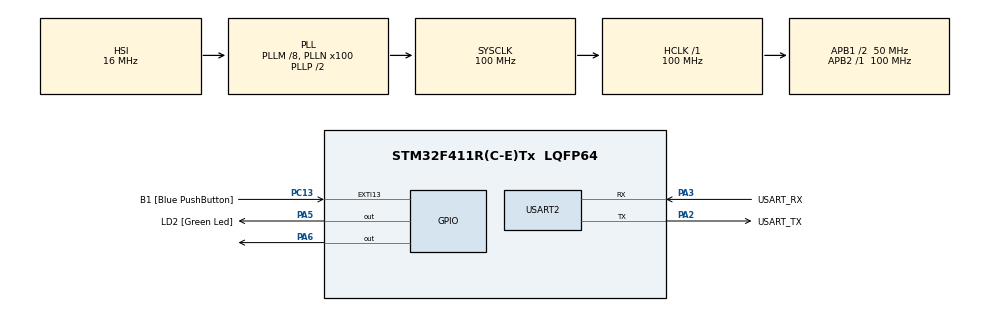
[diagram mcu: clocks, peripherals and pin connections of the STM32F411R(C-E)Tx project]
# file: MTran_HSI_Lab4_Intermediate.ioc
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Mcu.Family=STM32F4
Mcu.Name=STM32F411R(C-E)Tx
Mcu.Package=LQFP64
NVIC.PriorityGroup=NVIC_PRIORITYGROUP_0
NVIC.TIM1_UP_TIM10_IRQn=true\:0\:0\:false\:false\:true\:true\:true\:true
PA13.GPIO_Label=TMS
PA13.Mode=Serial_Wire
PA13.Signal=SYS_JTMS-SWDIO
PA14.GPIO_Label=TCK
PA14.Mode=Serial_Wire
PA14.Signal=SYS_JTCK-SWCLK
PA2.GPIO_Label=USART_TX
PA2.Mode=Asynchronous
PA2.Signal=USART2_TX
PA3.GPIO_Label=USART_RX
PA3.Mode=Asynchronous
PA3.Signal=USART2_RX
PA5.GPIO_Label=LD2 [Green Led]
PA5.Signal=GPIO_Output
PA6.Signal=GPIO_Output
PB3.GPIO_Label=SWO
PB3.Signal=SYS_JTDO-SWO
PC13-ANTI_TAMP.GPIO_Label=B1 [Blue PushButton]
PC13-ANTI_TAMP.GPIO_ModeDefaultEXTI=GPIO_MODE_IT_FALLING
PC13-ANTI_TAMP.Signal=GPXTI13
PC14-OSC32_IN.Mode=LSE-External-Oscillator
PC14-OSC32_IN.Signal=RCC_OSC32_IN
PC15-OSC32_OUT.Mode=LSE-External-Oscillator
PC15-OSC32_OUT.Signal=RCC_OSC32_OUT
PH0\ -\ OSC_IN.Mode=HSE-External-Clock-Source
PH0\ -\ OSC_IN.Signal=RCC_OSC_IN
PH1\ -\ OSC_OUT.Mode=HSE-External-Clock-Source
PH1\ -\ OSC_OUT.Signal=RCC_OSC_OUT
ProjectManager.HeapSize=0x200
ProjectManager.StackSize=0x400
ProjectManager.TargetToolchain=STM32CubeIDE
RCC.48MHZClocksFreq_Value=50000000
RCC.AHBFreq_Value=100000000
RCC.APB1CLKDivider=RCC_HCLK_DIV2
RCC.APB1Freq_Value=50000000
RCC.APB1TimFreq_Value=100000000
RCC.APB2Freq_Value=100000000
RCC.APB2TimFreq_Value=100000000
RCC.CortexFreq_Value=100000000
RCC.FLatency-AdvancedSettings=FLASH_LATENCY_3
RCC.HCLKFreq_Value=100000000
RCC.HSE_VALUE=8000000
RCC.HSI_VALUE=16000000
RCC.PLLM=8
RCC.PLLN=100
RCC.SYSCLKFreq_VALUE=100000000
RCC.SYSCLKSource=RCC_SYSCLKSOURCE_PLLCLK
RCC.VCOOutputFreq_Value=200000000
TIM1.Channel-Output\ Compare1\ No\ Output=TIM_CHANNEL_1
TIM1.OCMode_1=TIM_OCMODE_TOGGLE
TIM1.Period=499
TIM1.Prescaler=99
USART2.VirtualMode=VM_ASYNC
VP_TIM11_VS_ClockSourceINT.Mode=Enable_Timer
VP_TIM1_VS_ClockSourceINT.Mode=Internal
VP_TIM1_VS_no_output1.Mode=Output Compare1 No Output
board=NUCLEO-F411RE

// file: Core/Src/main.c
/* USER CODE BEGIN Header */
/**
  ******************************************************************************
  * @file           : main.c
  * @brief          : Main program body
  ******************************************************************************
  * @attention
  *
  * Copyright (c) 2024 STMicroelectronics.
  * All rights reserved.
  *
  * This software is licensed under terms that can be found in the LICENSE file
  * in the root directory of this software component.
  * If no LICENSE file comes with this software, it is provided AS-IS.
  *
  ******************************************************************************
  */
/*
* FILE : main.c
* PROJECT : Timers - Lab4
* PROGRAMMER : Minh Quan Tran
* FIRST VERSION : 2024 - 10 - 03
* DESCRIPTION : This file is the main code file to use timer to create a microDelay()
*/
/* USER CODE END Header */
#include "main.h"

/* USER CODE BEGIN PD */
#define PERIOD 500
#define USE_INTERRUPT
/* USER CODE END PD */

TIM_HandleTypeDef htim1;
TIM_HandleTypeDef htim11;

UART_HandleTypeDef huart2;

void SystemClock_Config(void);
static void MX_GPIO_Init(void);
static void MX_USART2_UART_Init(void);
static void MX_TIM1_Init(void);
static void MX_TIM11_Init(void);

/* USER CODE BEGIN 0 */

/* FUNCTION : HAL_TIM_PeriodElapsedCallback
*
* DESCRIPTION : This function is used to toggle LED whenever the timer overflow
*
* PARAMETERS : NONE
* RETURNS 	 : NONE
*
*/
void HAL_TIM_PeriodElapsedCallback(TIM_HandleTypeDef *htim)
{
    if (htim->Instance == TIM1)
    {
        HAL_GPIO_TogglePin(GPIOA, GPIO_PIN_6);
    }
}

/* FUNCTION : microDelay
*
* DESCRIPTION : This function is create to delay in micro second by counting the
* 				number of ticks has pass using the CNT register
*
* PARAMETERS : uint32_t usDelay  - duration of delay
* RETURNS 	 : NONE
*
*/
void microDelay(uint32_t usDelay)
{
    // Get the current timer counter value
    uint32_t startTime = __HAL_TIM_GET_COUNTER(&htim1);
    uint32_t ticks = usDelay - 1; // 1 ticks = 1 us

    // Poll the CNT register until the specified number of ticks has passed
    while ((__HAL_TIM_GET_COUNTER(&htim1) - startTime) < ticks)
    {
        // Wait until the timer reaches the required ticks
    }
}
/* USER CODE END 0 */

int main(void)
{

  /* MCU Configuration--------------------------------------------------------*/

  /* Reset of all peripherals, Initializes the Flash interface and the Systick. */
  HAL_Init();

  /* Configure the system clock */
  SystemClock_Config();

  /* Initialize all configured peripherals */
  MX_GPIO_Init();
  MX_USART2_UART_Init();
  MX_TIM1_Init();
  MX_TIM11_Init();
  /* USER CODE BEGIN 2 */
  htim1.Init.Period = PERIOD - 1;
  if (HAL_TIM_Base_Init(&htim1) != HAL_OK)
  {
	  Error_Handler();
  }

#ifdef USE_INTERRUPT
  HAL_TIM_Base_Start_IT(&htim1); //Enable interrupt
#else
  HAL_TIM_Base_Start(&htim1);
#endif
  /* USER CODE END 2 */

  /* Infinite loop */
  /* USER CODE BEGIN WHILE */
  while (1)
  {
#ifndef USE_INTERRUPT
	  microDelay(PERIOD);
	  HAL_GPIO_TogglePin(GPIOA, GPIO_PIN_6);
#endif
    /* USER CODE END WHILE */

  }
}

void SystemClock_Config(void)
{
  RCC_OscInitTypeDef RCC_OscInitStruct = {0};
  RCC_ClkInitTypeDef RCC_ClkInitStruct = {0};

  /** Configure the main internal regulator output voltage
  */
  __HAL_RCC_PWR_CLK_ENABLE();
  __HAL_PWR_VOLTAGESCALING_CONFIG(PWR_REGULATOR_VOLTAGE_SCALE1);

  /** Initializes the RCC Oscillators according to the specified parameters
  * in the RCC_OscInitTypeDef structure.
  */
  RCC_OscInitStruct.OscillatorType = RCC_OSCILLATORTYPE_HSI;
  RCC_OscInitStruct.HSIState = RCC_HSI_ON;
  RCC_OscInitStruct.HSICalibrationValue = RCC_HSICALIBRATION_DEFAULT;
  RCC_OscInitStruct.PLL.PLLState = RCC_PLL_ON;
  RCC_OscInitStruct.PLL.PLLSource = RCC_PLLSOURCE_HSI;
  RCC_OscInitStruct.PLL.PLLM = 8;
  RCC_OscInitStruct.PLL.PLLN = 100;
  RCC_OscInitStruct.PLL.PLLP = RCC_PLLP_DIV2;
  RCC_OscInitStruct.PLL.PLLQ = 4;
  if (HAL_RCC_OscConfig(&RCC_OscInitStruct) != HAL_OK)
  {
    Error_Handler();
  }

  /** Initializes the CPU, AHB and APB buses clocks
  */
  RCC_ClkInitStruct.ClockType = RCC_CLOCKTYPE_HCLK|RCC_CLOCKTYPE_SYSCLK
                              |RCC_CLOCKTYPE_PCLK1|RCC_CLOCKTYPE_PCLK2;
  RCC_ClkInitStruct.SYSCLKSource = RCC_SYSCLKSOURCE_PLLCLK;
  RCC_ClkInitStruct.AHBCLKDivider = RCC_SYSCLK_DIV1;
  RCC_ClkInitStruct.APB1CLKDivider = RCC_HCLK_DIV2;
  RCC_ClkInitStruct.APB2CLKDivider = RCC_HCLK_DIV1;

  if (HAL_RCC_ClockConfig(&RCC_ClkInitStruct, FLASH_LATENCY_3) != HAL_OK)
  {
    Error_Handler();
  }
}

static void MX_TIM1_Init(void)
{

  TIM_ClockConfigTypeDef sClockSourceConfig = {0};
  TIM_MasterConfigTypeDef sMasterConfig = {0};
  TIM_OC_InitTypeDef sConfigOC = {0};
  TIM_BreakDeadTimeConfigTypeDef sBreakDeadTimeConfig = {0};

  htim1.Instance = TIM1;
  htim1.Init.Prescaler = 99;
  htim1.Init.CounterMode = TIM_COUNTERMODE_UP;
  htim1.Init.Period = 499;
  htim1.Init.ClockDivision = TIM_CLOCKDIVISION_DIV1;
  htim1.Init.RepetitionCounter = 0;
  htim1.Init.AutoReloadPreload = TIM_AUTORELOAD_PRELOAD_DISABLE;
  if (HAL_TIM_Base_Init(&htim1) != HAL_OK)
  {
    Error_Handler();
  }
  sClockSourceConfig.ClockSource = TIM_CLOCKSOURCE_INTERNAL;
  if (HAL_TIM_ConfigClockSource(&htim1, &sClockSourceConfig) != HAL_OK)
  {
    Error_Handler();
  }
  if (HAL_TIM_OC_Init(&htim1) != HAL_OK)
  {
    Error_Handler();
  }
  sMasterConfig.MasterOutputTrigger = TIM_TRGO_RESET;
  sMasterConfig.MasterSlaveMode = TIM_MASTERSLAVEMODE_DISABLE;
  if (HAL_TIMEx_MasterConfigSynchronization(&htim1, &sMasterConfig) != HAL_OK)
  {
    Error_Handler();
  }
  sConfigOC.OCMode = TIM_OCMODE_TOGGLE;
  sConfigOC.Pulse = 0;
  sConfigOC.OCPolarity = TIM_OCPOLARITY_HIGH;
  sConfigOC.OCNPolarity = TIM_OCNPOLARITY_HIGH;
  sConfigOC.OCFastMode = TIM_OCFAST_DISABLE;
  sConfigOC.OCIdleState = TIM_OCIDLESTATE_RESET;
  sConfigOC.OCNIdleState = TIM_OCNIDLESTATE_RESET;
  if (HAL_TIM_OC_ConfigChannel(&htim1, &sConfigOC, TIM_CHANNEL_1) != HAL_OK)
  {
    Error_Handler();
  }
  sBreakDeadTimeConfig.OffStateRunMode = TIM_OSSR_DISABLE;
  sBreakDeadTimeConfig.OffStateIDLEMode = TIM_OSSI_DISABLE;
  sBreakDeadTimeConfig.LockLevel = TIM_LOCKLEVEL_OFF;
  sBreakDeadTimeConfig.DeadTime = 0;
  sBreakDeadTimeConfig.BreakState = TIM_BREAK_DISABLE;
  sBreakDeadTimeConfig.BreakPolarity = TIM_BREAKPOLARITY_HIGH;
  sBreakDeadTimeConfig.AutomaticOutput = TIM_AUTOMATICOUTPUT_DISABLE;
  if (HAL_TIMEx_ConfigBreakDeadTime(&htim1, &sBreakDeadTimeConfig) != HAL_OK)
  {
    Error_Handler();
  }

}

static void MX_TIM11_Init(void)
{

  htim11.Instance = TIM11;
  htim11.Init.Prescaler = 0;
  htim11.Init.CounterMode = TIM_COUNTERMODE_UP;
  htim11.Init.Period = 65535;
  htim11.Init.ClockDivision = TIM_CLOCKDIVISION_DIV1;
  htim11.Init.AutoReloadPreload = TIM_AUTORELOAD_PRELOAD_DISABLE;
  if (HAL_TIM_Base_Init(&htim11) != HAL_OK)
  {
    Error_Handler();
  }

}

static void MX_USART2_UART_Init(void)
{

  huart2.Instance = USART2;
  huart2.Init.BaudRate = 115200;
  huart2.Init.WordLength = UART_WORDLENGTH_8B;
  huart2.Init.StopBits = UART_STOPBITS_1;
  huart2.Init.Parity = UART_PARITY_NONE;
  huart2.Init.Mode = UART_MODE_TX_RX;
  huart2.Init.HwFlowCtl = UART_HWCONTROL_NONE;
  huart2.Init.OverSampling = UART_OVERSAMPLING_16;
  if (HAL_UART_Init(&huart2) != HAL_OK)
  {
    Error_Handler();
  }

}

static void MX_GPIO_Init(void)
{
  GPIO_InitTypeDef GPIO_InitStruct = {0};

  /* GPIO Ports Clock Enable */
  __HAL_RCC_GPIOC_CLK_ENABLE();
  __HAL_RCC_GPIOH_CLK_ENABLE();
  __HAL_RCC_GPIOA_CLK_ENABLE();
  __HAL_RCC_GPIOB_CLK_ENABLE();

  /*Configure GPIO pin Output Level */
  HAL_GPIO_WritePin(GPIOA, LD2_Pin|GPIO_PIN_6, GPIO_PIN_RESET);

  /*Configure GPIO pin : B1_Pin */
  GPIO_InitStruct.Pin = B1_Pin;
  GPIO_InitStruct.Mode = GPIO_MODE_IT_FALLING;
  GPIO_InitStruct.Pull = GPIO_NOPULL;
  HAL_GPIO_Init(B1_GPIO_Port, &GPIO_InitStruct);

  /*Configure GPIO pins : LD2_Pin PA6 */
  GPIO_InitStruct.Pin = LD2_Pin|GPIO_PIN_6;
  GPIO_InitStruct.Mode = GPIO_MODE_OUTPUT_PP;
  GPIO_InitStruct.Pull = GPIO_NOPULL;
  GPIO_InitStruct.Speed = GPIO_SPEED_FREQ_LOW;
  HAL_GPIO_Init(GPIOA, &GPIO_InitStruct);

}

void Error_Handler(void)
{
  __disable_irq();
  while (1)
  {
  }
}
